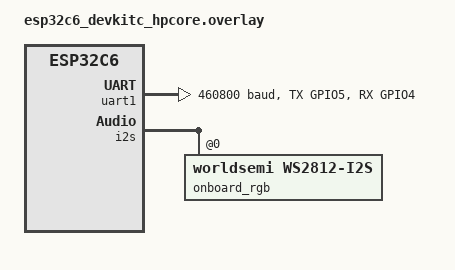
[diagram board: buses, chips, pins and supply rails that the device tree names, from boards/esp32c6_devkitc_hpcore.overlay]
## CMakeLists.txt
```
# SPDX-License-Identifier: Apache-2.0

cmake_minimum_required(VERSION 3.20.0)

find_package(Zephyr REQUIRED HINTS $ENV{ZEPHYR_BASE})
project(waveshare_espnow_peer)

set(ESPNOW_BLOB
    ${CMAKE_CURRENT_SOURCE_DIR}/third_party/espressif/libespnow.a)

if(NOT EXISTS ${ESPNOW_BLOB})
  message(FATAL_ERROR "Missing ESP-NOW library: ${ESPNOW_BLOB}")
endif()

# This Zephyr checkout predates hal_espressif's ESP-NOW blob integration.
# Keep the compatible upstream C6 library local to this application.
zephyr_link_libraries(${ESPNOW_BLOB})

# The older HAL also provides g_espnow_user_oui as a compatibility stub, while
# the upstream ESP-NOW blob now contains the same constant itself.
zephyr_ld_options(-Wl,--allow-multiple-definition)

target_sources(app PRIVATE
               src/main.c
               src/rgb_indicator.c)
target_sources_ifdef(CONFIG_ESPNOW_NODE_ROLE_MASTER app PRIVATE
                     src/pc_command_link.c)
target_sources_ifdef(CONFIG_ESPNOW_NODE_ROLE_SLAVE app PRIVATE
                     src/ti_uart_link.c
                     src/imu_uart_link.c)
```

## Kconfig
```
# SPDX-License-Identifier: Apache-2.0

mainmenu "Waveshare ESP-NOW Peer"

menu "ESP-NOW Configuration"

choice ESPNOW_NODE_ROLE
	prompt "Node identity"
	default ESPNOW_NODE_ROLE_MASTER

config ESPNOW_NODE_ROLE_MASTER
	bool "Master"

config ESPNOW_NODE_ROLE_SLAVE
	bool "Slave"

endchoice

config ESPNOW_MASTER_LED_BRIGHTNESS
	int "Master RGB LED brightness"
	range 0 255
	default 8

config ESPNOW_SLAVE_LED_BRIGHTNESS
	int "Slave RGB LED brightness"
	range 0 255
	default 2

config ESPNOW_LED_EVENT_DURATION_MS
	int "ESP-NOW TX/RX color duration in milliseconds"
	range 20 1000
	default 180
	help
	  TX is shown in red and RX in green. Events are queued so both colors
	  remain visible when transmit and receive happen close together.

config CAR_CONTROL_TIMEOUT_MS
	int "Car failsafe timeout in milliseconds"
	range 200 5000
	default 700
	help
	  The car-side ESP sends STOP to the TI MCU if no valid control command
	  arrives within this period while the car is moving.

menu "TI UART Link"
	depends on ESPNOW_NODE_ROLE_SLAVE

config TI_UART_BAUD_RATE
	int "TI UART baud rate"
	range 1200 3000000
	default 460800
	help
	  Runtime baud rate for the ESP master UART1 connection to the TI MCU.

config TI_UART_STATUS_INTERVAL_MS
	int "Status message interval in milliseconds"
	range 100 60000
	default 1000
	help
	  Interval of the car-side ESP,ALIVE status line sent to the TI MCU.

endmenu

menu "WitMotion IMU UART"
	depends on ESPNOW_NODE_ROLE_SLAVE

config IMU_UART_BAUD_RATE
	int "IMU UART baud rate"
	range 115200 115200
	default 115200
	help
	  UART0 baud rate for the WitMotion 0x55 binary protocol. The car-side
	  ESP automatically migrates a factory-default JY61P from 9600 baud
	  to 115200 baud and saves the setting once.

config IMU_UART_STALE_TIMEOUT_MS
	int "IMU stale timeout in milliseconds"
	range 40 2000
	default 80
	help
	  Report an IMU fault when valid gyro and angle frames are not both
	  received within this interval. At 50 Hz, 80 ms tolerates a few
	  missing frames without allowing stale heading data to be replayed
	  to the TI controller for hundreds of milliseconds.

endmenu

choice ESPNOW_ROLE
	prompt "Device role"
	default ESPNOW_ROLE_BIDIR

config ESPNOW_ROLE_SENDER
	bool "Sender"

config ESPNOW_ROLE_RECEIVER
	bool "Receiver"

config ESPNOW_ROLE_BIDIR
	bool "Both (send and receive)"

endchoice

config ESPNOW_CHANNEL
	int "Wi-Fi channel"
	range 1 13
	default 6
	help
	  Both devices must use the same channel.

config ESPNOW_BEACON_INTERVAL_S
	int "Beacon interval in seconds"
	range 1 60
	default 2
	depends on ESPNOW_ROLE_SENDER || ESPNOW_ROLE_BIDIR

endmenu

source "Kconfig.zephyr"
```

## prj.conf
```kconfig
CONFIG_MULTITHREADING=y
CONFIG_MAIN_STACK_SIZE=8192

CONFIG_LOG=y
CONFIG_LOG_MODE_DEFERRED=y
CONFIG_LOG_DEFAULT_LEVEL=3
CONFIG_THREAD_NAME=y

CONFIG_SERIAL=y
CONFIG_UART_USE_RUNTIME_CONFIGURE=y
CONFIG_CONSOLE=y
CONFIG_UART_CONSOLE=y
CONFIG_PRINTK=y

CONFIG_GPIO=y
CONFIG_I2S=y
CONFIG_LED_STRIP=y

CONFIG_NETWORKING=y
CONFIG_WIFI=y

CONFIG_ESPNOW_ROLE_BIDIR=y
CONFIG_ESPNOW_CHANNEL=6
CONFIG_ESPNOW_BEACON_INTERVAL_S=2
```

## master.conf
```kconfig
CONFIG_ESPNOW_NODE_ROLE_MASTER=y
```

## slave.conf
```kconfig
CONFIG_ESPNOW_NODE_ROLE_SLAVE=y

# 从机 UART0 重映射给 IMU；调试和下载仍可使用原生 USB/JTAG，
# 或在启动前通过 GPIO16/17 的 ROM 下载串口烧录。
CONFIG_CONSOLE=n
CONFIG_UART_CONSOLE=n
CONFIG_LOG_BACKEND_UART=n
```

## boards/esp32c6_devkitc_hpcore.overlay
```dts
/*
 * The two connected Waveshare boards report 16 MiB SPI flash.
 * The upstream esp32c6_devkitc board defaults to 8 MiB.
 */

#include <zephyr/dt-bindings/led/led.h>

/ {
	aliases {
		led-strip = &onboard_rgb;
		ti-uart = &uart1;
	};
};

&pinctrl {
	ti_uart_default: ti_uart_default {
		group1 {
			pinmux = <UART1_TX_GPIO5>;
			output-high;
		};

		group2 {
			pinmux = <UART1_RX_GPIO4>;
			bias-pull-up;
		};
	};
};

&flash0 {
	reg = <0x0 DT_SIZE_M(16)>;
};

&uart1 {
	status = "okay";
	current-speed = <460800>;
	pinctrl-0 = <&ti_uart_default>;
	pinctrl-names = "default";
};

&i2s_default {
	group1 {
		pinmux = <I2S_O_SD_GPIO8>;
	};
};

i2s_rgb: &i2s {
	status = "okay";

	dmas = <&dma 3>;
	dma-names = "tx";

	onboard_rgb: ws2812@0 {
		compatible = "worldsemi,ws2812-i2s";
		reg = <0>;
		chain-length = <1>;
		color-mapping = <LED_COLOR_ID_GREEN
				 LED_COLOR_ID_RED
				 LED_COLOR_ID_BLUE>;
		reset-delay = <500>;
	};
};

&dma {
	status = "okay";
};
```

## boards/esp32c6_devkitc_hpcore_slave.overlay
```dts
/*
 * Slave-only IMU UART routing.
 *
 * UART0 defaults to GPIO16/17, which are also connected to the onboard
 * USB-to-UART bridge.  Route the application UART to GPIO2/3 so the bridge
 * and the IMU never drive the same RX signal.
 */

#include <zephyr/dt-bindings/pinctrl/esp32c6-pinctrl.h>

/ {
	aliases {
		imu-uart = &uart0;
	};

	chosen {
		/delete-property/ zephyr,console;
		/delete-property/ zephyr,shell-uart;
	};
};

&pinctrl {
	imu_uart_default: imu_uart_default {
		group1 {
			pinmux = <UART0_TX_GPIO2>;
			output-high;
		};

		group2 {
			pinmux = <UART0_RX_GPIO3>;
			bias-pull-up;
		};
	};
};

&uart0 {
	status = "okay";
	current-speed = <115200>;
	pinctrl-0 = <&imu_uart_default>;
	pinctrl-names = "default";
};
```

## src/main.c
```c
/*
 * ESP-NOW bidirectional heartbeat test for two ESP32-C6 boards.
 *
 * Adapted from the Zephyr Project ESP-NOW sample.
 *
 * SPDX-License-Identifier: Apache-2.0
 */

#include <errno.h>
#include <inttypes.h>
#include <stdbool.h>
#include <string.h>

#include <zephyr/kernel.h>
#include <zephyr/logging/log.h>

#include <esp_now.h>
#include <esp_wifi.h>

#include "car_control_protocol.h"
#include "rgb_indicator.h"

#if defined(CONFIG_ESPNOW_NODE_ROLE_MASTER)
#include "pc_command_link.h"
#else
#include "imu_uart_link.h"
#include "ti_uart_link.h"
#endif

LOG_MODULE_REGISTER(espnow_peer, LOG_LEVEL_INF);

struct __packed espnow_heartbeat {
	uint32_t sequence;
	uint32_t uptime_ms;
	uint8_t source_mac[ESP_NOW_ETH_ALEN];
};

static const uint8_t broadcast_mac[ESP_NOW_ETH_ALEN] = {
	0xff, 0xff, 0xff, 0xff, 0xff, 0xff
};

#if defined(CONFIG_ESPNOW_NODE_ROLE_MASTER)
static bool imu_state_known;
static bool last_imu_valid;
static uint8_t last_imu_fault;

static int forward_pc_command(uint16_t sequence, enum car_command command,
			      uint8_t speed)
{
	struct car_control_packet packet;

	car_control_packet_init(&packet, sequence, command, speed);

	const esp_err_t error =
		esp_now_send(broadcast_mac, (const uint8_t *)&packet,
			     sizeof(packet));

	if (error != ESP_OK) {
		LOG_ERR("Control send failed: 0x%x", error);
		return -EIO;
	}

	LOG_INF("Control TX seq=%u %s speed=%u",
		sequence, car_command_name(command), packet.speed);
	return 0;
}

static int forward_pc_parameter(uint16_t sequence,
				enum car_parameter parameter,
				int32_t value)
{
	struct car_parameter_packet packet;

	car_parameter_packet_init(&packet, sequence, parameter, value);
	const esp_err_t error =
		esp_now_send(broadcast_mac, (const uint8_t *)&packet,
			     sizeof(packet));
	if (error != ESP_OK) {
		LOG_ERR("Parameter send failed: 0x%x", error);
		return -EIO;
	}
	LOG_INF("Parameter TX seq=%u id=%u value=%" PRId32,
		sequence, (unsigned int)parameter, value);
	return 0;
}
#endif

#if defined(CONFIG_ESPNOW_NODE_ROLE_SLAVE)
static int forward_ti_telemetry(
	const struct car_telemetry_sample *sample)
{
	struct car_telemetry_packet packet;

	car_telemetry_packet_init(&packet, sample);
	const esp_err_t error =
		esp_now_send(broadcast_mac, (const uint8_t *)&packet,
			     sizeof(packet));

	return error == ESP_OK ? 0 : -EIO;
}
#endif

#if defined(CONFIG_ESPNOW_ROLE_RECEIVER) || defined(CONFIG_ESPNOW_ROLE_BIDIR)
static void receive_callback(const esp_now_recv_info_t *info, const uint8_t *data, int length)
{
	if (info == NULL || data == NULL || length <= 0 || info->rx_ctrl == NULL) {
		return;
	}

	rgb_indicator_notify(RGB_INDICATOR_RX);

	const uint8_t *source = info->src_addr;
	const uint8_t *destination = info->des_addr;
	const bool is_broadcast =
		memcmp(destination, broadcast_mac, ESP_NOW_ETH_ALEN) == 0;

	/*
	 * Telemetry is a high-rate stream. Keep per-packet logs for commands
	 * and heartbeats, but avoid consuming PC UART/UI capacity at 50 Hz.
	 */
	if (length != sizeof(struct car_telemetry_packet)) {
		LOG_INF("RX [%s] from %02x:%02x:%02x:%02x:%02x:%02x RSSI=%d len=%d",
			is_broadcast ? "BCAST" : "UNICAST",
			source[0], source[1], source[2], source[3],
			source[4], source[5], info->rx_ctrl->rssi, length);
	}

	if (length == sizeof(struct car_control_packet)) {
		const struct car_control_packet *packet =
			(const struct car_control_packet *)data;

		if (!car_control_packet_is_valid(packet)) {
			LOG_WRN("Rejected invalid car-control packet");
			return;
		}

		const uint16_t sequence =
			car_control_packet_sequence(packet);
		const enum car_command command =
			(enum car_command)packet->command;

		LOG_INF("Control RX seq=%u %s speed=%u",
			sequence, car_command_name(command), packet->speed);

#if defined(CONFIG_ESPNOW_NODE_ROLE_SLAVE)
		const int uart_error =
			ti_uart_link_send_car_command(sequence, command,
						      packet->speed);

		if (uart_error != 0) {
			LOG_ERR("Car UART queue failed: %d", uart_error);
		}
#endif
	} else if (length == sizeof(struct car_parameter_packet)) {
		const struct car_parameter_packet *packet =
			(const struct car_parameter_packet *)data;

		if (!car_parameter_packet_is_valid(packet)) {
			LOG_WRN("Rejected invalid parameter packet");
			return;
		}
#if defined(CONFIG_ESPNOW_NODE_ROLE_SLAVE)
		const int uart_error = ti_uart_link_send_parameter(
			sys_get_le16(packet->sequence_le),
			(enum car_parameter)packet->parameter,
			(int32_t)sys_get_le32(packet->value_le));
		if (uart_error != 0) {
			LOG_ERR("Parameter UART queue failed: %d", uart_error);
		}
#endif
	} else if (length == sizeof(struct car_telemetry_packet)) {
		const struct car_telemetry_packet *packet =
			(const struct car_telemetry_packet *)data;
		struct car_telemetry_sample sample;

		if (!car_telemetry_packet_is_valid(packet)) {
			LOG_WRN("Rejected invalid car-telemetry packet");
			return;
		}
		car_telemetry_packet_decode(packet, &sample);

#if defined(CONFIG_ESPNOW_NODE_ROLE_MASTER)
		const uint8_t imu_fault =
			car_telemetry_imu_fault(sample.flags);
		const bool imu_valid =
			(sample.flags & CAR_TELEMETRY_IMU_VALID) != 0U;
		if (!imu_state_known || imu_valid != last_imu_valid ||
		    imu_fault != last_imu_fault) {
			if (imu_valid) {
				if (imu_state_known) {
					LOG_INF("Car IMU recovered");
				} else {
					LOG_INF("Car IMU ready");
				}
			} else {
				LOG_WRN("Car IMU fault: %s (%u)",
					car_imu_fault_name(imu_fault),
					imu_fault);
			}
			imu_state_known = true;
			last_imu_valid = imu_valid;
			last_imu_fault = imu_fault;
		}

		const int pc_error =
			pc_command_link_send_telemetry(&sample);
		if (pc_error != 0) {
			LOG_WRN("PC telemetry queue full: %d", pc_error);
		}
#endif
	} else if (length == sizeof(struct espnow_heartbeat)) {
		const struct espnow_heartbeat *heartbeat =
			(const struct espnow_heartbeat *)data;

		LOG_INF("RX heartbeat seq=%" PRIu32 " uptime=%" PRIu32
			" ms peer=%02x:%02x:%02x:%02x:%02x:%02x",
			heartbeat->sequence, heartbeat->uptime_ms,
			heartbeat->source_mac[0], heartbeat->source_mac[1],
			heartbeat->source_mac[2], heartbeat->source_mac[3],
			heartbeat->source_mac[4], heartbeat->source_mac[5]);
	} else {
		LOG_HEXDUMP_INF(data, MIN(length, 32), "RX payload");
	}
}
#endif

#if defined(CONFIG_ESPNOW_ROLE_SENDER) || defined(CONFIG_ESPNOW_ROLE_BIDIR)
static void send_callback(const esp_now_send_info_t *info, esp_now_send_status_t status)
{
	if (info == NULL) {
		return;
	}

	const uint8_t *destination = info->des_addr;

	if (status == ESP_NOW_SEND_SUCCESS) {
		rgb_indicator_notify(RGB_INDICATOR_TX);
		LOG_INF("TX OK -> %02x:%02x:%02x:%02x:%02x:%02x",
			destination[0], destination[1], destination[2],
			destination[3], destination[4], destination[5]);
	} else {
		LOG_ERR("TX FAIL -> %02x:%02x:%02x:%02x:%02x:%02x",
			destination[0], destination[1], destination[2],
			destination[3], destination[4], destination[5]);
	}
}

#define BEACON_STACK_SIZE 2048
#define BEACON_PRIORITY 5

static void beacon_thread(void *unused1, void *unused2, void *unused3)
{
	uint32_t sequence = 0;

	ARG_UNUSED(unused1);
	ARG_UNUSED(unused2);
	ARG_UNUSED(unused3);

	k_thread_name_set(k_current_get(), "espnow_beacon");

	while (true) {
		struct espnow_heartbeat heartbeat = {
			.sequence = sequence++,
			.uptime_ms = k_uptime_get_32(),
		};
		esp_err_t error =
			esp_wifi_get_mac(WIFI_IF_STA, heartbeat.source_mac);

		if (error != ESP_OK) {
			LOG_ERR("esp_wifi_get_mac failed: 0x%x", error);
		} else {
			LOG_INF("TX heartbeat seq=%" PRIu32 " uptime=%" PRIu32
				" ms self=%02x:%02x:%02x:%02x:%02x:%02x",
				heartbeat.sequence, heartbeat.uptime_ms,
				heartbeat.source_mac[0], heartbeat.source_mac[1],
				heartbeat.source_mac[2], heartbeat.source_mac[3],
				heartbeat.source_mac[4], heartbeat.source_mac[5]);

			error = esp_now_send(broadcast_mac,
					     (const uint8_t *)&heartbeat,
					     sizeof(heartbeat));
			if (error != ESP_OK) {
				LOG_ERR("esp_now_send failed: 0x%x", error);
			}
		}

		k_sleep(K_SECONDS(CONFIG_ESPNOW_BEACON_INTERVAL_S));
	}
}

K_THREAD_STACK_DEFINE(beacon_stack, BEACON_STACK_SIZE);
static struct k_thread beacon_thread_data;
#endif

int main(void)
{
	wifi_init_config_t wifi_config = WIFI_INIT_CONFIG_DEFAULT();
	esp_now_peer_info_t peer = {0};
	wifi_mode_t current_mode;
	uint8_t local_mac[ESP_NOW_ETH_ALEN];
	esp_err_t error;

	(void)rgb_indicator_start();

#if defined(CONFIG_ESPNOW_NODE_ROLE_SLAVE)
	const int uart_error = ti_uart_link_start();

	if (uart_error != 0) {
		LOG_WRN("Continuing without car UART link");
	}

	const int imu_error = imu_uart_link_start();

	if (imu_error != 0) {
		LOG_WRN("Continuing without IMU UART link");
	}
#endif

	error = esp_wifi_get_mode(&current_mode);
	if (error == ESP_ERR_WIFI_NOT_INIT) {
		error = esp_wifi_init(&wifi_config);
		if (error != ESP_OK) {
			LOG_ERR("esp_wifi_init failed: 0x%x", error);
			return -EIO;
		}
	}

	error = esp_wifi_set_storage(WIFI_STORAGE_RAM);
	if (error != ESP_OK) {
		LOG_ERR("esp_wifi_set_storage failed: 0x%x", error);
		return -EIO;
	}

	error = esp_wifi_set_mode(ESP32_WIFI_MODE_STA);
	if (error != ESP_OK) {
		LOG_ERR("esp_wifi_set_mode failed: 0x%x", error);
		return -EIO;
	}

	error = esp_wifi_start();
	if (error != ESP_OK) {
		LOG_ERR("esp_wifi_start failed: 0x%x", error);
		return -EIO;
	}

	error = esp_wifi_set_channel(CONFIG_ESPNOW_CHANNEL,
				     WIFI_SECOND_CHAN_NONE);
	if (error != ESP_OK) {
		LOG_ERR("esp_wifi_set_channel failed: 0x%x", error);
		return -EIO;
	}

	error = esp_now_init();
	if (error != ESP_OK) {
		LOG_ERR("esp_now_init failed: 0x%x", error);
		return -EIO;
	}

#if defined(CONFIG_ESPNOW_ROLE_RECEIVER) || defined(CONFIG_ESPNOW_ROLE_BIDIR)
	error = esp_now_register_recv_cb(receive_callback);
	if (error != ESP_OK) {
		LOG_ERR("esp_now_register_recv_cb failed: 0x%x", error);
		return -EIO;
	}
#endif

#if defined(CONFIG_ESPNOW_ROLE_SENDER) || defined(CONFIG_ESPNOW_ROLE_BIDIR)
	error = esp_now_register_send_cb(send_callback);
	if (error != ESP_OK) {
		LOG_ERR("esp_now_register_send_cb failed: 0x%x", error);
		return -EIO;
	}
#endif

	memcpy(peer.peer_addr, broadcast_mac, ESP_NOW_ETH_ALEN);
	peer.channel = CONFIG_ESPNOW_CHANNEL;
	peer.ifidx = WIFI_IF_STA;
	peer.encrypt = false;

	error = esp_now_add_peer(&peer);
	if (error != ESP_OK) {
		LOG_ERR("esp_now_add_peer failed: 0x%x", error);
		return -EIO;
	}

#if defined(CONFIG_ESPNOW_NODE_ROLE_SLAVE)
	ti_uart_link_set_telemetry_handler(forward_ti_telemetry);
#endif

	error = esp_wifi_get_mac(WIFI_IF_STA, local_mac);
	if (error != ESP_OK) {
		LOG_ERR("esp_wifi_get_mac failed: 0x%x", error);
		return -EIO;
	}

	uint32_t version = 0;

	error = esp_now_get_version(&version);
	if (error != ESP_OK) {
		LOG_ERR("esp_now_get_version failed: 0x%x", error);
		return -EIO;
	}

	LOG_INF("ESP-NOW v%u ready channel=%u node=%s radio=%s",
		(unsigned int)version, CONFIG_ESPNOW_CHANNEL,
#if defined(CONFIG_ESPNOW_NODE_ROLE_MASTER)
		"MASTER",
#else
		"SLAVE",
#endif
#if defined(CONFIG_ESPNOW_ROLE_SENDER)
		"SENDER"
#elif defined(CONFIG_ESPNOW_ROLE_RECEIVER)
		"RECEIVER"
#else
		"BIDIR"
#endif
	);
	LOG_INF("Local MAC %02x:%02x:%02x:%02x:%02x:%02x",
		local_mac[0], local_mac[1], local_mac[2],
		local_mac[3], local_mac[4], local_mac[5]);

#if defined(CONFIG_ESPNOW_NODE_ROLE_MASTER)
	const int pc_error = pc_command_link_start(
		forward_pc_command, forward_pc_parameter);

	if (pc_error != 0) {
		LOG_ERR("PC control link failed: %d", pc_error);
		return pc_error;
	}
#endif

#if defined(CONFIG_ESPNOW_ROLE_SENDER) || defined(CONFIG_ESPNOW_ROLE_BIDIR)
	k_thread_create(&beacon_thread_data, beacon_stack,
			K_THREAD_STACK_SIZEOF(beacon_stack),
			beacon_thread, NULL, NULL, NULL,
			BEACON_PRIORITY, 0, K_NO_WAIT);
	LOG_INF("Beacon interval=%d seconds", CONFIG_ESPNOW_BEACON_INTERVAL_S);
#else
	LOG_INF("Receiver-only mode");
#endif

	return 0;
}
```

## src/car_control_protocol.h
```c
/*
 * Binary car-control packet carried over ESP-NOW.
 *
 * SPDX-License-Identifier: Apache-2.0
 */

#ifndef CAR_CONTROL_PROTOCOL_H
#define CAR_CONTROL_PROTOCOL_H

#include <stdbool.h>
#include <stddef.h>
#include <stdint.h>
#include <string.h>

#include <zephyr/sys/byteorder.h>
#include <zephyr/sys/util.h>
#include <zephyr/toolchain.h>

#define CAR_PACKET_VERSION 3U
#define CAR_PACKET_TYPE_COMMAND 1U
#define CAR_PACKET_TYPE_TELEMETRY 2U
#define CAR_PACKET_TYPE_PARAMETER 3U
#define CAR_MAX_SPEED 100U
#define CAR_TELEMETRY_IMU_VALID BIT(0)
#define CAR_TELEMETRY_HEADING_ACTIVE BIT(1)
#define CAR_TELEMETRY_IMU_FAULT_SHIFT 2U
#define CAR_TELEMETRY_IMU_FAULT_MASK (0x3fU << CAR_TELEMETRY_IMU_FAULT_SHIFT)

enum car_imu_fault {
	CAR_IMU_FAULT_NONE = 0,
	CAR_IMU_FAULT_NOT_READY = 1,
	CAR_IMU_FAULT_NO_RESPONSE = 2,
	CAR_IMU_FAULT_TIMEOUT = 3,
	CAR_IMU_FAULT_STALE = 4,
	CAR_IMU_FAULT_IO = 5,
};

enum car_command {
	CAR_COMMAND_STOP = 0,
	CAR_COMMAND_FORWARD = 1,
	CAR_COMMAND_BACKWARD = 2,
	CAR_COMMAND_LEFT = 3,
	CAR_COMMAND_RIGHT = 4,
	CAR_COMMAND_TRACK_ON = 5,
	CAR_COMMAND_TRACK_OFF = 6,
};

/* 与 MSPM0G3507 ControlParam 的顺序保持一致。 */
enum car_parameter {
	CAR_PARAM_BASE = 0,
	CAR_PARAM_LIMIT,
	CAR_PARAM_MINIMUM,
	CAR_PARAM_SLEW,
	CAR_PARAM_KP,
	CAR_PARAM_KD,
	CAR_PARAM_GYRO,
	CAR_PARAM_OBSTACLE_STOP,
	CAR_PARAM_OBSTACLE_CLEAR,
	CAR_PARAM_SPEED_FULL_SCALE,
	CAR_PARAM_SPEED_KP,
	CAR_PARAM_SPEED_KI,
	CAR_PARAM_HEADING_KP,
	CAR_PARAM_HEADING_KI,
	CAR_PARAM_HEADING_KD,
	CAR_PARAM_HEADING_LIMIT,
	CAR_PARAM_HEADING_SIGN,
	CAR_PARAM_TURN_SPEED,
	CAR_PARAM_TURN_ANGLE,
	CAR_PARAM_TURN_TOLERANCE,
	CAR_PARAM_TURN_DETECT_CYCLES,
	CAR_PARAM_TURN_SIGN,
	CAR_PARAM_LINE_TRIM_LIMIT,
	CAR_PARAM_COUNT,
};

static inline bool car_command_is_tracking(enum car_command command)
{
	return command == CAR_COMMAND_TRACK_ON ||
	       command == CAR_COMMAND_TRACK_OFF;
}

struct __packed car_control_packet {
	uint8_t magic[4];
	uint8_t version;
	uint8_t type;
	uint8_t sequence_le[2];
	uint8_t command;
	uint8_t speed;
	uint8_t crc_le[2];
};

struct __packed car_parameter_packet {
	uint8_t magic[4];
	uint8_t version;
	uint8_t type;
	uint8_t sequence_le[2];
	uint8_t parameter;
	uint8_t value_le[4];
	uint8_t crc_le[2];
};

struct car_telemetry_sample {
	uint16_t sequence;
	uint32_t uptime_ms;
	int16_t gyro_x_dps_x10;
	int16_t gyro_y_dps_x10;
	int16_t gyro_z_dps_x10;
	int16_t roll_cdeg;
	int16_t pitch_cdeg;
	int16_t yaw_cdeg;
	uint8_t flags;
	int16_t heading_target_cdeg;
	int16_t heading_error_cdeg;
	int8_t heading_correction;
	int8_t left_duty;
	int8_t right_duty;
	uint8_t tracking_enabled;
	uint8_t line_bits;
	int8_t line_error;
	uint8_t line_active;
	uint8_t track_state;
	int8_t line_correction;
	int16_t target_left_cps;
	int16_t target_right_cps;
	int16_t measured_left_cps;
	int16_t measured_right_cps;
	uint8_t base_speed;
	uint8_t motor_limit;
	uint8_t motor_minimum;
	uint8_t output_slew;
	uint16_t kp_percent;
	uint16_t kd_percent;
	uint16_t gyro_percent;
	uint16_t speed_full_scale_cps;
	uint16_t speed_kp_percent;
	uint16_t speed_ki_percent;
	uint16_t heading_kp_percent;
	uint16_t heading_ki_percent;
	uint16_t heading_kd_percent;
	uint8_t heading_limit;
	uint8_t turn_speed;
	uint8_t turn_angle_deg;
	uint8_t turn_tolerance_deg;
	int8_t turn_sign;
	uint8_t turn_detect_cycles;
	uint16_t imu_age_ms;
	uint8_t line_trim_limit;
	int8_t heading_sign;
};

/* 车载 ESP 从维特 IMU 解码后，通过现有 ESP->3507 串口发送的姿态样本。 */
struct car_imu_sample {
	uint16_t sequence;
	int16_t gyro_x_dps_x10;
	int16_t gyro_y_dps_x10;
	int16_t gyro_z_dps_x10;
	int16_t roll_cdeg;
	int16_t pitch_cdeg;
	int16_t yaw_cdeg;
	uint8_t flags;
};

struct __packed car_telemetry_packet {
	uint8_t magic[4];
	uint8_t version;
	uint8_t type;
	uint8_t sequence_le[2];
	uint8_t uptime_ms_le[4];
	uint8_t gyro_x_le[2];
	uint8_t gyro_y_le[2];
	uint8_t gyro_z_le[2];
	uint8_t roll_le[2];
	uint8_t pitch_le[2];
	uint8_t yaw_le[2];
	uint8_t flags;
	uint8_t heading_target_le[2];
	uint8_t heading_error_le[2];
	int8_t heading_correction;
	int8_t left_duty;
	int8_t right_duty;
	uint8_t tracking_enabled;
	uint8_t line_bits;
	int8_t line_error;
	uint8_t line_active;
	uint8_t track_state;
	int8_t line_correction;
	uint8_t target_left_cps_le[2];
	uint8_t target_right_cps_le[2];
	uint8_t measured_left_cps_le[2];
	uint8_t measured_right_cps_le[2];
	uint8_t base_speed;
	uint8_t motor_limit;
	uint8_t motor_minimum;
	uint8_t output_slew;
	uint8_t kp_percent_le[2];
	uint8_t kd_percent_le[2];
	uint8_t gyro_percent_le[2];
	uint8_t speed_full_scale_cps_le[2];
	uint8_t speed_kp_percent_le[2];
	uint8_t speed_ki_percent_le[2];
	uint8_t heading_kp_percent_le[2];
	uint8_t heading_ki_percent_le[2];
	uint8_t heading_kd_percent_le[2];
	uint8_t heading_limit;
	uint8_t turn_speed;
	uint8_t turn_angle_deg;
	uint8_t turn_tolerance_deg;
	int8_t turn_sign;
	uint8_t turn_detect_cycles;
	uint8_t imu_age_ms_le[2];
	uint8_t line_trim_limit;
	int8_t heading_sign;
	uint8_t crc_le[2];
};

static inline uint16_t car_crc16_ccitt(const uint8_t *data, size_t length)
{
	uint16_t crc = 0xffffU;

	for (size_t index = 0; index < length; index++) {
		crc ^= (uint16_t)data[index] << 8;
		for (int bit = 0; bit < 8; bit++) {
			crc = (crc & 0x8000U) != 0U
				      ? (uint16_t)((crc << 1) ^ 0x1021U)
				      : (uint16_t)(crc << 1);
		}
	}

	return crc;
}

static inline void car_control_packet_init(struct car_control_packet *packet,
					   uint16_t sequence,
					   enum car_command command,
					   uint8_t speed)
{
	static const uint8_t magic[4] = {'C', 'A', 'R', '1'};

	memset(packet, 0, sizeof(*packet));
	memcpy(packet->magic, magic, sizeof(packet->magic));
	packet->version = CAR_PACKET_VERSION;
	packet->type = CAR_PACKET_TYPE_COMMAND;
	sys_put_le16(sequence, packet->sequence_le);
	packet->command = (uint8_t)command;
	packet->speed =
		command == CAR_COMMAND_STOP || car_command_is_tracking(command)
			? 0U
			: MIN(speed, CAR_MAX_SPEED);

	const uint16_t crc =
		car_crc16_ccitt((const uint8_t *)packet,
				offsetof(struct car_control_packet, crc_le));

	sys_put_le16(crc, packet->crc_le);
}

static inline bool car_control_packet_is_valid(
	const struct car_control_packet *packet)
{
	static const uint8_t magic[4] = {'C', 'A', 'R', '1'};

	if (memcmp(packet->magic, magic, sizeof(packet->magic)) != 0 ||
	    packet->version != CAR_PACKET_VERSION ||
	    packet->type != CAR_PACKET_TYPE_COMMAND ||
	    packet->command > CAR_COMMAND_TRACK_OFF ||
	    packet->speed > CAR_MAX_SPEED ||
	    (car_command_is_tracking((enum car_command)packet->command) &&
	     packet->speed != 0U)) {
		return false;
	}

	const uint16_t expected =
		car_crc16_ccitt((const uint8_t *)packet,
				offsetof(struct car_control_packet, crc_le));

	return sys_get_le16(packet->crc_le) == expected;
}

static inline uint16_t car_control_packet_sequence(
	const struct car_control_packet *packet)
{
	return sys_get_le16(packet->sequence_le);
}

static inline void car_parameter_packet_init(
	struct car_parameter_packet *packet, uint16_t sequence,
	enum car_parameter parameter, int32_t value)
{
	static const uint8_t magic[4] = {'C', 'A', 'R', '1'};

	memset(packet, 0, sizeof(*packet));
	memcpy(packet->magic, magic, sizeof(packet->magic));
	packet->version = CAR_PACKET_VERSION;
	packet->type = CAR_PACKET_TYPE_PARAMETER;
	sys_put_le16(sequence, packet->sequence_le);
	packet->parameter = (uint8_t)parameter;
	sys_put_le32((uint32_t)value, packet->value_le);
	const uint16_t crc =
		car_crc16_ccitt((const uint8_t *)packet,
				offsetof(struct car_parameter_packet, crc_le));
	sys_put_le16(crc, packet->crc_le);
}

static inline bool car_parameter_packet_is_valid(
	const struct car_parameter_packet *packet)
{
	static const uint8_t magic[4] = {'C', 'A', 'R', '1'};

	if (memcmp(packet->magic, magic, sizeof(packet->magic)) != 0 ||
	    packet->version != CAR_PACKET_VERSION ||
	    packet->type != CAR_PACKET_TYPE_PARAMETER ||
	    packet->parameter >= CAR_PARAM_COUNT) {
		return false;
	}
	const uint16_t expected =
		car_crc16_ccitt((const uint8_t *)packet,
				offsetof(struct car_parameter_packet, crc_le));
	return sys_get_le16(packet->crc_le) == expected;
}

static inline void car_telemetry_packet_init(
	struct car_telemetry_packet *packet,
	const struct car_telemetry_sample *sample)
{
	static const uint8_t magic[4] = {'C', 'A', 'R', '1'};

	memset(packet, 0, sizeof(*packet));
	memcpy(packet->magic, magic, sizeof(packet->magic));
	packet->version = CAR_PACKET_VERSION;
	packet->type = CAR_PACKET_TYPE_TELEMETRY;
	sys_put_le16(sample->sequence, packet->sequence_le);
	sys_put_le32(sample->uptime_ms, packet->uptime_ms_le);
	sys_put_le16((uint16_t)sample->gyro_x_dps_x10, packet->gyro_x_le);
	sys_put_le16((uint16_t)sample->gyro_y_dps_x10, packet->gyro_y_le);
	sys_put_le16((uint16_t)sample->gyro_z_dps_x10, packet->gyro_z_le);
	sys_put_le16((uint16_t)sample->roll_cdeg, packet->roll_le);
	sys_put_le16((uint16_t)sample->pitch_cdeg, packet->pitch_le);
	sys_put_le16((uint16_t)sample->yaw_cdeg, packet->yaw_le);
	packet->flags = sample->flags;
	sys_put_le16((uint16_t)sample->heading_target_cdeg,
		     packet->heading_target_le);
	sys_put_le16((uint16_t)sample->heading_error_cdeg,
		     packet->heading_error_le);
	packet->heading_correction = sample->heading_correction;
	packet->left_duty = sample->left_duty;
	packet->right_duty = sample->right_duty;
	packet->tracking_enabled = sample->tracking_enabled != 0U ? 1U : 0U;
	packet->line_bits = sample->line_bits;
	packet->line_error = sample->line_error;
	packet->line_active = sample->line_active;
	packet->track_state = sample->track_state;
	packet->line_correction = sample->line_correction;
	sys_put_le16((uint16_t)sample->target_left_cps,
		     packet->target_left_cps_le);
	sys_put_le16((uint16_t)sample->target_right_cps,
		     packet->target_right_cps_le);
	sys_put_le16((uint16_t)sample->measured_left_cps,
		     packet->measured_left_cps_le);
	sys_put_le16((uint16_t)sample->measured_right_cps,
		     packet->measured_right_cps_le);
	packet->base_speed = sample->base_speed;
	packet->motor_limit = sample->motor_limit;
	packet->motor_minimum = sample->motor_minimum;
	packet->output_slew = sample->output_slew;
	sys_put_le16(sample->kp_percent, packet->kp_percent_le);
	sys_put_le16(sample->kd_percent, packet->kd_percent_le);
	sys_put_le16(sample->gyro_percent, packet->gyro_percent_le);
	sys_put_le16(sample->speed_full_scale_cps,
		     packet->speed_full_scale_cps_le);
	sys_put_le16(sample->speed_kp_percent, packet->speed_kp_percent_le);
	sys_put_le16(sample->speed_ki_percent, packet->speed_ki_percent_le);
	sys_put_le16(sample->heading_kp_percent, packet->heading_kp_percent_le);
	sys_put_le16(sample->heading_ki_percent, packet->heading_ki_percent_le);
	sys_put_le16(sample->heading_kd_percent, packet->heading_kd_percent_le);
	packet->heading_limit = sample->heading_limit;
	packet->turn_speed = sample->turn_speed;
	packet->turn_angle_deg = sample->turn_angle_deg;
	packet->turn_tolerance_deg = sample->turn_tolerance_deg;
	packet->turn_sign = sample->turn_sign;
	packet->turn_detect_cycles = sample->turn_detect_cycles;
	sys_put_le16(sample->imu_age_ms, packet->imu_age_ms_le);
	packet->line_trim_limit = sample->line_trim_limit;
	packet->heading_sign = sample->heading_sign;

	const uint16_t crc =
		car_crc16_ccitt((const uint8_t *)packet,
				offsetof(struct car_telemetry_packet, crc_le));
	sys_put_le16(crc, packet->crc_le);
}

static inline bool car_telemetry_packet_is_valid(
	const struct car_telemetry_packet *packet)
{
	static const uint8_t magic[4] = {'C', 'A', 'R', '1'};

	if (memcmp(packet->magic, magic, sizeof(packet->magic)) != 0 ||
	    packet->version != CAR_PACKET_VERSION ||
	    packet->type != CAR_PACKET_TYPE_TELEMETRY ||
	    packet->tracking_enabled > 1U) {
		return false;
	}

	const uint16_t expected =
		car_crc16_ccitt((const uint8_t *)packet,
				offsetof(struct car_telemetry_packet, crc_le));
	return sys_get_le16(packet->crc_le) == expected;
}

static inline uint8_t car_telemetry_imu_fault(uint8_t flags)
{
	return (flags & CAR_TELEMETRY_IMU_FAULT_MASK) >>
	       CAR_TELEMETRY_IMU_FAULT_SHIFT;
}

static inline const char *car_imu_fault_name(uint8_t fault)
{
	switch (fault) {
	case CAR_IMU_FAULT_NONE:
		return "NONE";
	case CAR_IMU_FAULT_NOT_READY:
		return "I2C_NOT_READY";
	case CAR_IMU_FAULT_NO_RESPONSE:
		return "I2C_NACK";
	case CAR_IMU_FAULT_TIMEOUT:
		return "I2C_TIMEOUT";
	case CAR_IMU_FAULT_STALE:
		return "DATA_STALE";
	case CAR_IMU_FAULT_IO:
		return "I2C_IO";
	default:
		return "UNKNOWN";
	}
}

static inline void car_telemetry_packet_decode(
	const struct car_telemetry_packet *packet,
	struct car_telemetry_sample *sample)
{
	*sample = (struct car_telemetry_sample) {
		.sequence = sys_get_le16(packet->sequence_le),
		.uptime_ms = sys_get_le32(packet->uptime_ms_le),
		.gyro_x_dps_x10 = (int16_t)sys_get_le16(packet->gyro_x_le),
		.gyro_y_dps_x10 = (int16_t)sys_get_le16(packet->gyro_y_le),
		.gyro_z_dps_x10 = (int16_t)sys_get_le16(packet->gyro_z_le),
		.roll_cdeg = (int16_t)sys_get_le16(packet->roll_le),
		.pitch_cdeg = (int16_t)sys_get_le16(packet->pitch_le),
		.yaw_cdeg = (int16_t)sys_get_le16(packet->yaw_le),
		.flags = packet->flags,
		.heading_target_cdeg =
			(int16_t)sys_get_le16(packet->heading_target_le),
		.heading_error_cdeg =
			(int16_t)sys_get_le16(packet->heading_error_le),
		.heading_correction = packet->heading_correction,
		.left_duty = packet->left_duty,
		.right_duty = packet->right_duty,
		.tracking_enabled = packet->tracking_enabled,
		.line_bits = packet->line_bits,
		.line_error = packet->line_error,
		.line_active = packet->line_active,
		.track_state = packet->track_state,
		.line_correction = packet->line_correction,
		.target_left_cps =
			(int16_t)sys_get_le16(packet->target_left_cps_le),
		.target_right_cps =
			(int16_t)sys_get_le16(packet->target_right_cps_le),
		.measured_left_cps =
			(int16_t)sys_get_le16(packet->measured_left_cps_le),
		.measured_right_cps =
			(int16_t)sys_get_le16(packet->measured_right_cps_le),
		.base_speed = packet->base_speed,
		.motor_limit = packet->motor_limit,
		.motor_minimum = packet->motor_minimum,
		.output_slew = packet->output_slew,
		.kp_percent = sys_get_le16(packet->kp_percent_le),
		.kd_percent = sys_get_le16(packet->kd_percent_le),
		.gyro_percent = sys_get_le16(packet->gyro_percent_le),
		.speed_full_scale_cps =
			sys_get_le16(packet->speed_full_scale_cps_le),
		.speed_kp_percent =
			sys_get_le16(packet->speed_kp_percent_le),
		.speed_ki_percent =
			sys_get_le16(packet->speed_ki_percent_le),
		.heading_kp_percent =
			sys_get_le16(packet->heading_kp_percent_le),
		.heading_ki_percent =
			sys_get_le16(packet->heading_ki_percent_le),
		.heading_kd_percent =
			sys_get_le16(packet->heading_kd_percent_le),
		.heading_limit = packet->heading_limit,
		.turn_speed = packet->turn_speed,
		.turn_angle_deg = packet->turn_angle_deg,
		.turn_tolerance_deg = packet->turn_tolerance_deg,
		.turn_sign = packet->turn_sign,
		.turn_detect_cycles = packet->turn_detect_cycles,
		.imu_age_ms = sys_get_le16(packet->imu_age_ms_le),
		.line_trim_limit = packet->line_trim_limit,
		.heading_sign = packet->heading_sign,
	};
}

static inline const char *car_command_name(enum car_command command)
{
	switch (command) {
	case CAR_COMMAND_STOP:
		return "STOP";
	case CAR_COMMAND_FORWARD:
		return "FORWARD";
	case CAR_COMMAND_BACKWARD:
		return "BACKWARD";
	case CAR_COMMAND_LEFT:
		return "LEFT";
	case CAR_COMMAND_RIGHT:
		return "RIGHT";
	case CAR_COMMAND_TRACK_ON:
		return "TRACK_ON";
	case CAR_COMMAND_TRACK_OFF:
		return "TRACK_OFF";
	default:
		return "INVALID";
	}
}

#endif
```

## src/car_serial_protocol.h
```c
/*
 * Framed binary protocol used on PC <-> base ESP and car ESP <-> TI UARTs.
 *
 * SPDX-License-Identifier: Apache-2.0
 */

#ifndef CAR_SERIAL_PROTOCOL_H
#define CAR_SERIAL_PROTOCOL_H

#include <stdbool.h>
#include <stddef.h>
#include <stdint.h>
#include <string.h>

#include <zephyr/sys/byteorder.h>

#define CAR_SERIAL_SYNC_0 0xa5U
#define CAR_SERIAL_SYNC_1 0x5aU
#define CAR_SERIAL_VERSION 3U
#define CAR_SERIAL_HEADER_SIZE 7U
#define CAR_SERIAL_CRC_SIZE 2U
#define CAR_SERIAL_MAX_PAYLOAD 70U
#define CAR_SERIAL_MAX_FRAME_SIZE \
	(CAR_SERIAL_HEADER_SIZE + CAR_SERIAL_MAX_PAYLOAD + CAR_SERIAL_CRC_SIZE)

#define CAR_SERIAL_TYPE_COMMAND 1U
#define CAR_SERIAL_TYPE_IMU 2U
#define CAR_SERIAL_TYPE_TELEMETRY 3U
#define CAR_SERIAL_TYPE_ACK 4U
#define CAR_SERIAL_TYPE_PARAMETER 5U

#define CAR_SERIAL_COMMAND_PAYLOAD_SIZE 2U
#define CAR_SERIAL_IMU_PAYLOAD_SIZE 13U
#define CAR_SERIAL_TELEMETRY_PAYLOAD_SIZE 70U
#define CAR_SERIAL_ACK_PAYLOAD_SIZE 3U
#define CAR_SERIAL_PARAMETER_PAYLOAD_SIZE 5U

#define CAR_SERIAL_ACK_OK 0U
#define CAR_SERIAL_ACK_BAD_FRAME 1U
#define CAR_SERIAL_ACK_BAD_COMMAND 2U
#define CAR_SERIAL_ACK_QUEUE_FULL 3U

/* IMU fixed-point units carried by IMU and TELEMETRY payloads. */
#define CAR_SERIAL_GYRO_SCALE 10
#define CAR_SERIAL_ANGLE_SCALE 100

static inline uint16_t car_serial_crc16(const uint8_t *data, size_t length)
{
	uint16_t crc = 0xffffU;

	for (size_t index = 0; index < length; ++index) {
		crc ^= (uint16_t)data[index] << 8;
		for (int bit = 0; bit < 8; ++bit) {
			crc = (crc & 0x8000U) != 0U
				      ? (uint16_t)((crc << 1) ^ 0x1021U)
				      : (uint16_t)(crc << 1);
		}
	}
	return crc;
}

static inline bool car_serial_payload_size_valid(uint8_t type,
						 uint8_t payload_size)
{
	switch (type) {
	case CAR_SERIAL_TYPE_COMMAND:
		return payload_size == CAR_SERIAL_COMMAND_PAYLOAD_SIZE;
	case CAR_SERIAL_TYPE_IMU:
		return payload_size == CAR_SERIAL_IMU_PAYLOAD_SIZE;
	case CAR_SERIAL_TYPE_TELEMETRY:
		return payload_size == CAR_SERIAL_TELEMETRY_PAYLOAD_SIZE;
	case CAR_SERIAL_TYPE_ACK:
		return payload_size == CAR_SERIAL_ACK_PAYLOAD_SIZE;
	case CAR_SERIAL_TYPE_PARAMETER:
		return payload_size == CAR_SERIAL_PARAMETER_PAYLOAD_SIZE;
	default:
		return false;
	}
}

static inline size_t car_serial_frame_size(uint8_t payload_size)
{
	return CAR_SERIAL_HEADER_SIZE + payload_size + CAR_SERIAL_CRC_SIZE;
}

static inline size_t car_serial_encode(uint8_t *frame, size_t capacity,
				      uint8_t type, uint16_t sequence,
				      const uint8_t *payload,
				      uint8_t payload_size)
{
	const size_t frame_size = car_serial_frame_size(payload_size);

	if (frame == NULL || payload == NULL || capacity < frame_size ||
	    !car_serial_payload_size_valid(type, payload_size)) {
		return 0U;
	}
	frame[0] = CAR_SERIAL_SYNC_0;
	frame[1] = CAR_SERIAL_SYNC_1;
	frame[2] = CAR_SERIAL_VERSION;
	frame[3] = type;
	frame[4] = payload_size;
	sys_put_le16(sequence, &frame[5]);
	memcpy(&frame[CAR_SERIAL_HEADER_SIZE], payload, payload_size);
	const uint16_t crc = car_serial_crc16(
		&frame[2], CAR_SERIAL_HEADER_SIZE - 2U + payload_size);
	sys_put_le16(crc, &frame[CAR_SERIAL_HEADER_SIZE + payload_size]);
	return frame_size;
}

static inline bool car_serial_frame_valid(const uint8_t *frame, size_t length)
{
	if (frame == NULL || length < CAR_SERIAL_HEADER_SIZE +
					   CAR_SERIAL_CRC_SIZE ||
	    frame[0] != CAR_SERIAL_SYNC_0 || frame[1] != CAR_SERIAL_SYNC_1 ||
	    frame[2] != CAR_SERIAL_VERSION ||
	    !car_serial_payload_size_valid(frame[3], frame[4]) ||
	    length != car_serial_frame_size(frame[4])) {
		return false;
	}
	const uint16_t expected = car_serial_crc16(
		&frame[2], CAR_SERIAL_HEADER_SIZE - 2U + frame[4]);
	return sys_get_le16(&frame[CAR_SERIAL_HEADER_SIZE + frame[4]]) ==
	       expected;
}

static inline uint16_t car_serial_sequence(const uint8_t *frame)
{
	return sys_get_le16(&frame[5]);
}

static inline uint8_t *car_serial_payload(uint8_t *frame)
{
	return &frame[CAR_SERIAL_HEADER_SIZE];
}

static inline const uint8_t *car_serial_const_payload(const uint8_t *frame)
{
	return &frame[CAR_SERIAL_HEADER_SIZE];
}

#endif
```

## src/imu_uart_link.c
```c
/*
 * WitMotion standard 0x55 UART protocol receiver.
 *
 * The car-side ESP decodes angular-velocity (0x52) and angle (0x53) frames,
 * then queues a compact CAR,IMU line on the existing UART1 link to the 3507.
 *
 * SPDX-License-Identifier: Apache-2.0
 */

#include "imu_uart_link.h"

#include <errno.h>
#include <stdbool.h>
#include <stdint.h>
#include <string.h>

#include <zephyr/device.h>
#include <zephyr/devicetree.h>
#include <zephyr/drivers/uart.h>
#include <zephyr/kernel.h>
#include <zephyr/logging/log.h>
#include <zephyr/sys/byteorder.h>
#include <zephyr/sys/util.h>

#include "car_control_protocol.h"
#include "car_serial_protocol.h"
#include "ti_uart_link.h"

LOG_MODULE_REGISTER(imu_uart_link, LOG_LEVEL_INF);

#define IMU_UART_NODE DT_ALIAS(imu_uart)
#define WIT_FRAME_SIZE 11U
#define WIT_FRAME_HEADER 0x55U
#define WIT_FRAME_GYRO 0x52U
#define WIT_FRAME_ANGLE 0x53U
#define IMU_THREAD_STACK_SIZE 1536
#define IMU_THREAD_PRIORITY 5
#define IMU_PUBLISH_MIN_PERIOD_MS 20
#define IMU_FAULT_REPORT_PERIOD_MS 200
#define WIT_FACTORY_BAUD_RATE 9600U
#define WIT_BAUD_REGISTER 0x04U
#define WIT_BAUD_115200 0x0006U
#define WIT_BAUD_PROBE_MS 350
#define WIT_BAUD_PROBE_FRAME_COUNT 2U
#define WIT_COMMAND_SETTLE_MS 100
#define WIT_OUTPUT_GYRO_AND_ANGLE 0x000cU
#define WIT_OUTPUT_RATE_50_HZ 0x0008U

static const struct device *const imu_uart = DEVICE_DT_GET(IMU_UART_NODE);
static uint8_t frame[WIT_FRAME_SIZE];
static size_t frame_length;
static int16_t gyro[3];
static int16_t angle[3];
static int64_t gyro_time_ms;
static int64_t angle_time_ms;
static int64_t last_publish_ms;
static uint16_t sequence;
static bool gyro_received;
static bool angle_received;
static bool sample_published;
static bool checksum_error_seen;

K_THREAD_STACK_DEFINE(imu_stack, IMU_THREAD_STACK_SIZE);
static struct k_thread imu_thread_data;

static int configure_local_uart(uint32_t baudrate)
{
	const struct uart_config config = {
		.baudrate = baudrate,
		.parity = UART_CFG_PARITY_NONE,
		.stop_bits = UART_CFG_STOP_BITS_1,
		.data_bits = UART_CFG_DATA_BITS_8,
		.flow_ctrl = UART_CFG_FLOW_CTRL_NONE,
	};

	return uart_configure(imu_uart, &config);
}

static void write_wit_bytes(const uint8_t *data, size_t length)
{
	for (size_t index = 0; index < length; index++) {
		uart_poll_out(imu_uart, data[index]);
	}
}

static void write_wit_register(uint8_t address, uint16_t value)
{
	const uint8_t command[] = {
		0xffU, 0xaaU, address,
		(uint8_t)(value & 0xffU),
		(uint8_t)(value >> 8),
	};

	write_wit_bytes(command, sizeof(command));
	k_sleep(K_MSEC(3));
}

static bool frame_checksum_valid(const uint8_t *data);

static bool probe_wit_sensor(int32_t timeout_ms)
{
	uint8_t probe_frame[WIT_FRAME_SIZE];
	size_t probe_length = 0U;
	uint8_t valid_frames = 0U;
	const int64_t deadline = k_uptime_get() + timeout_ms;
	unsigned char byte;

	while (k_uptime_get() < deadline) {
		if (uart_poll_in(imu_uart, &byte) != 0) {
			k_sleep(K_MSEC(1));
			continue;
		}

		if (probe_length == 0U && byte != WIT_FRAME_HEADER) {
			continue;
		}

		probe_frame[probe_length++] = byte;
		if (probe_length != WIT_FRAME_SIZE) {
			continue;
		}

		if (frame_checksum_valid(probe_frame)) {
			valid_frames++;
			if (valid_frames >= WIT_BAUD_PROBE_FRAME_COUNT) {
				return true;
			}
		}
		probe_length = 0U;
	}

	return false;
}

static void flush_wit_uart(void)
{
	unsigned char byte;

	while (uart_poll_in(imu_uart, &byte) == 0) {
		/* Discard bytes captured while changing baud rate. */
	}
	frame_length = 0U;
}

static void configure_wit_stream(const uint8_t *unlock, size_t unlock_size)
{
	write_wit_bytes(unlock, unlock_size);
	k_sleep(K_MSEC(WIT_COMMAND_SETTLE_MS));
	write_wit_register(0x02U, WIT_OUTPUT_GYRO_AND_ANGLE);
	k_sleep(K_MSEC(WIT_COMMAND_SETTLE_MS));
	write_wit_register(0x03U, WIT_OUTPUT_RATE_50_HZ);
	k_sleep(K_MSEC(WIT_COMMAND_SETTLE_MS));
}

/*
 * Probe the configured baud first so an already-migrated sensor incurs no
 * flash writes. If no valid frames are found, configure a factory-default
 * JY61P at 9600, move both sides to 115200, and save the setting once.
 */
static int configure_wit_sensor(void)
{
	static const uint8_t unlock[] = {0xffU, 0xaaU, 0x69U, 0x88U, 0xb5U};
	static const uint8_t save[] = {0xffU, 0xaaU, 0x00U, 0x00U, 0x00U};
	int error = configure_local_uart(CONFIG_IMU_UART_BAUD_RATE);

	if (error != 0) {
		return error;
	}
	k_sleep(K_MSEC(20));
	flush_wit_uart();
	if (probe_wit_sensor(WIT_BAUD_PROBE_MS)) {
		LOG_INF("JY61P detected at %d baud",
			CONFIG_IMU_UART_BAUD_RATE);
		configure_wit_stream(unlock, sizeof(unlock));
		flush_wit_uart();
		return 0;
	}

	error = configure_local_uart(WIT_FACTORY_BAUD_RATE);
	if (error != 0) {
		return error;
	}
	k_sleep(K_MSEC(20));
	flush_wit_uart();
	if (!probe_wit_sensor(WIT_BAUD_PROBE_MS)) {
		LOG_WRN("JY61P not detected at 115200 or factory 9600 baud");
		return configure_local_uart(CONFIG_IMU_UART_BAUD_RATE);
	}

	configure_wit_stream(unlock, sizeof(unlock));
	write_wit_register(WIT_BAUD_REGISTER, WIT_BAUD_115200);
	k_sleep(K_MSEC(WIT_COMMAND_SETTLE_MS));

	/*
	 * Some WitMotion revisions apply BAUD immediately and others after
	 * SAVE. One SAVE at each speed safely covers both behaviours.
	 */
	write_wit_bytes(save, sizeof(save));
	k_sleep(K_MSEC(WIT_COMMAND_SETTLE_MS));
	error = configure_local_uart(CONFIG_IMU_UART_BAUD_RATE);
	if (error != 0) {
		return error;
	}
	k_sleep(K_MSEC(WIT_COMMAND_SETTLE_MS));
	write_wit_bytes(save, sizeof(save));
	k_sleep(K_MSEC(WIT_COMMAND_SETTLE_MS));
	flush_wit_uart();

	if (probe_wit_sensor(WIT_BAUD_PROBE_MS)) {
		LOG_INF("JY61P migrated from 9600 to %d baud",
			CONFIG_IMU_UART_BAUD_RATE);
	} else {
		LOG_WRN("JY61P did not answer after %d-baud migration",
			CONFIG_IMU_UART_BAUD_RATE);

		/*
		 * Keep IMU data available when the module's RX wire is absent
		 * or a firmware revision rejects the BAUD write. A later reboot
		 * retries the migration.
		 */
		error = configure_local_uart(WIT_FACTORY_BAUD_RATE);
		if (error != 0) {
			return error;
		}
		k_sleep(K_MSEC(20));
		flush_wit_uart();
		if (probe_wit_sensor(WIT_BAUD_PROBE_MS)) {
			LOG_WRN("JY61P remains at 9600 baud; using fallback");
			return 0;
		}

		return configure_local_uart(CONFIG_IMU_UART_BAUD_RATE);
	}

	return 0;
}

/* 保留 JY61P 原始分辨率，并直接转换为串口协议使用的定点单位。 */
static int16_t scale_axis(const uint8_t *raw, int32_t full_scale,
			  int32_t fixed_point_scale)
{
	const int16_t value = (int16_t)sys_get_le16(raw);

	return (int16_t)(((int32_t)value * full_scale * fixed_point_scale) /
			 32768);
}

static bool frame_checksum_valid(const uint8_t *data)
{
	uint8_t checksum = 0U;

	for (size_t index = 0; index < WIT_FRAME_SIZE - 1U; index++) {
		checksum = (uint8_t)(checksum + data[index]);
	}
	return checksum == data[WIT_FRAME_SIZE - 1U];
}

/*
 * 维特标准帧固定为 11 字节：55、类型、8 字节负载、累加校验。
 * 这里只接受闭环所需的 0x52 角速度和 0x53 欧拉角。
 */
static void decode_frame(const uint8_t *data, int64_t now)
{
	if (!frame_checksum_valid(data)) {
		checksum_error_seen = true;
		return;
	}

	switch (data[1]) {
	case WIT_FRAME_GYRO:
		for (size_t axis = 0; axis < ARRAY_SIZE(gyro); axis++) {
			gyro[axis] = scale_axis(
				&data[2U + axis * 2U], 2000,
				CAR_SERIAL_GYRO_SCALE);
		}
		gyro_time_ms = now;
		gyro_received = true;
		break;
	case WIT_FRAME_ANGLE:
		for (size_t axis = 0; axis < ARRAY_SIZE(angle); axis++) {
			angle[axis] = scale_axis(
				&data[2U + axis * 2U], 180,
				CAR_SERIAL_ANGLE_SCALE);
		}
		angle_time_ms = now;
		angle_received = true;
		break;
	default:
		break;
	}
}

static void consume_byte(uint8_t byte, int64_t now)
{
	if (frame_length == 0U && byte != WIT_FRAME_HEADER) {
		return;
	}

	frame[frame_length++] = byte;
	if (frame_length == WIT_FRAME_SIZE) {
		decode_frame(frame, now);
		frame_length = 0U;
	}
}

static void read_uart(void)
{
	unsigned char byte;

	while (uart_poll_in(imu_uart, &byte) == 0) {
		consume_byte(byte, k_uptime_get());
	}
}

static void publish_sample(int64_t now)
{
	const bool gyro_fresh = gyro_received &&
		now - gyro_time_ms < CONFIG_IMU_UART_STALE_TIMEOUT_MS;
	const bool angle_fresh = angle_received &&
		now - angle_time_ms < CONFIG_IMU_UART_STALE_TIMEOUT_MS;
	struct car_imu_sample sample = {
		.sequence = sequence++,
	};

	if (gyro_fresh && angle_fresh) {
		sample.gyro_x_dps_x10 = gyro[0];
		sample.gyro_y_dps_x10 = gyro[1];
		sample.gyro_z_dps_x10 = gyro[2];
		sample.roll_cdeg = angle[0];
		sample.pitch_cdeg = angle[1];
		sample.yaw_cdeg = angle[2];
		sample.flags = CAR_TELEMETRY_IMU_VALID;
		checksum_error_seen = false;
	} else {
		const enum car_imu_fault fault = checksum_error_seen
			? CAR_IMU_FAULT_IO : CAR_IMU_FAULT_TIMEOUT;

		sample.flags =
			(uint8_t)fault << CAR_TELEMETRY_IMU_FAULT_SHIFT;
	}

	(void)ti_uart_link_send_imu(&sample);
	last_publish_ms = now;
	sample_published = true;
}

static void imu_thread(void *unused1, void *unused2, void *unused3)
{
	ARG_UNUSED(unused1);
	ARG_UNUSED(unused2);
	ARG_UNUSED(unused3);

	k_thread_name_set(k_current_get(), "imu_uart");

	while (true) {
		read_uart();

		const int64_t now = k_uptime_get();
		const bool valid = gyro_received && angle_received &&
			now - gyro_time_ms < CONFIG_IMU_UART_STALE_TIMEOUT_MS &&
			now - angle_time_ms < CONFIG_IMU_UART_STALE_TIMEOUT_MS;
		const int64_t period = valid ? IMU_PUBLISH_MIN_PERIOD_MS :
			IMU_FAULT_REPORT_PERIOD_MS;

		if (!sample_published || now - last_publish_ms >= period) {
			publish_sample(now);
		}
		k_sleep(K_MSEC(2));
	}
}

int imu_uart_link_start(void)
{
	if (!device_is_ready(imu_uart)) {
		LOG_ERR("IMU UART0 device is not ready");
		return -ENODEV;
	}

	const int error = configure_wit_sensor();

	if (error != 0) {
		LOG_ERR("IMU UART configure failed: %d", error);
		return error;
	}

	k_thread_create(&imu_thread_data, imu_stack,
			K_THREAD_STACK_SIZEOF(imu_stack),
			imu_thread, NULL, NULL, NULL,
			IMU_THREAD_PRIORITY, 0, K_NO_WAIT);
	LOG_INF("IMU UART ready: UART0 GPIO2 TX / GPIO3 RX, %d 8N1",
		CONFIG_IMU_UART_BAUD_RATE);
	return 0;
}
```

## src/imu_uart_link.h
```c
/*
 * WitMotion IMU UART receiver on the car-side ESP.
 *
 * SPDX-License-Identifier: Apache-2.0
 */

#ifndef IMU_UART_LINK_H
#define IMU_UART_LINK_H

int imu_uart_link_start(void);

#endif
```

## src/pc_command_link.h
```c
/*
 * PC serial command input for the base ESP.
 *
 * SPDX-License-Identifier: Apache-2.0
 */

#ifndef PC_COMMAND_LINK_H
#define PC_COMMAND_LINK_H

#include <stdint.h>

#include "car_control_protocol.h"

typedef int (*pc_command_handler_t)(uint16_t sequence,
				    enum car_command command,
				    uint8_t speed);
typedef int (*pc_parameter_handler_t)(uint16_t sequence,
				      enum car_parameter parameter,
				      int32_t value);

int pc_command_link_start(pc_command_handler_t command_handler,
			  pc_parameter_handler_t parameter_handler);

int pc_command_link_send_telemetry(
	const struct car_telemetry_sample *sample);

#endif
```

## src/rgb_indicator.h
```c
/*
 * RGB status indicator for ESP-NOW activity.
 *
 * SPDX-License-Identifier: Apache-2.0
 */

#ifndef RGB_INDICATOR_H
#define RGB_INDICATOR_H

enum rgb_indicator_event {
	RGB_INDICATOR_TX,
	RGB_INDICATOR_RX,
};

int rgb_indicator_start(void);
void rgb_indicator_notify(enum rgb_indicator_event event);

#endif
```

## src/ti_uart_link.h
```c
/*
 * Car-side ESP <-> MSPM0G3507 UART link.
 *
 * SPDX-License-Identifier: Apache-2.0
 */

#ifndef TI_UART_LINK_H
#define TI_UART_LINK_H

#include <stdint.h>

#include "car_control_protocol.h"

typedef int (*ti_telemetry_handler_t)(
	const struct car_telemetry_sample *sample);

int ti_uart_link_start(void);

void ti_uart_link_set_telemetry_handler(ti_telemetry_handler_t handler);

int ti_uart_link_send_car_command(uint16_t sequence,
				  enum car_command command,
				  uint8_t speed);

int ti_uart_link_send_parameter(uint16_t sequence,
				enum car_parameter parameter,
				int32_t value);

int ti_uart_link_send_imu(const struct car_imu_sample *sample);

#endif
```
